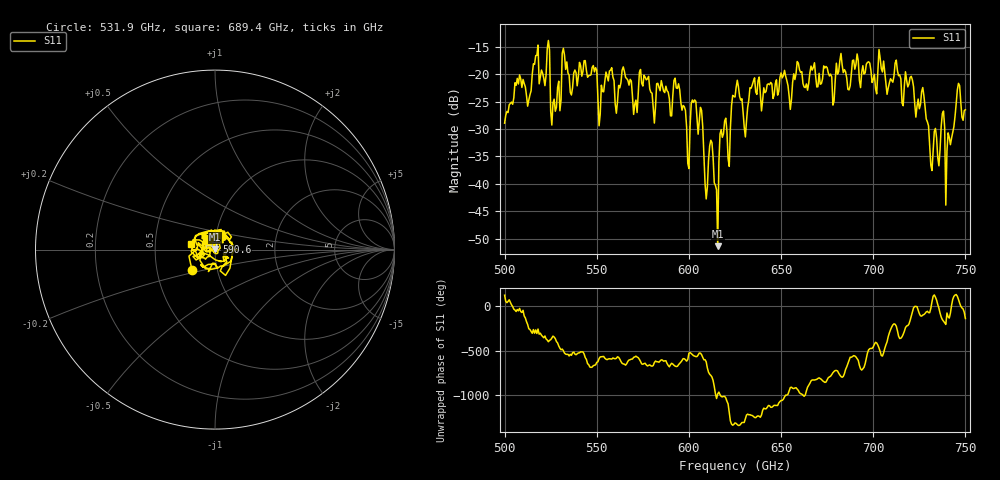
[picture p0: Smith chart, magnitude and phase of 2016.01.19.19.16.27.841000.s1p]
!Created with skrf (http://scikit-rf.org).
# GHz S RI R 50.0
!freq ReS11 ImS11
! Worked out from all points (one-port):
!   401 points, 500 GHz to 750 GHz, reference 50 ohm
!   lowest |S11| = -51.4 dB at 615.6 GHz (marker M1), VSWR 1.01, Z = 50 + j0.267 ohm
!   |S11| at or under -10 dB: start of sweep to end of sweep
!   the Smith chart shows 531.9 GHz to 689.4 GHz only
!   S11 on the Smith chart (normalised r, x): 531.9 GHz: 0.75, -0.18; 590.6 GHz: 1.01, +0.08; 689.4 GHz: 0.77, +0.05
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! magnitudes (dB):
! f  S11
! 500 GHz  -28.9
! 516.9 GHz  -16.6
! 523.1 GHz  -15.3
! 526.2 GHz  -25.2
! 531.2 GHz  -16.2
! 531.9 GHz  -15.3
! 562.5 GHz  -22.5
! 590.6 GHz  -27.6
! 593.8 GHz  -22.6
! 599.4 GHz  -36.3
! 602.5 GHz  -25.1
! 609.4 GHz  -42.8
! 611.9 GHz  -32.0
! 615.6 GHz  -51.4
! 618.1 GHz  -31.5
! 621.9 GHz  -36.8
! 625 GHz  -24.1
! 630.6 GHz  -31.4
! 634.4 GHz  -21.9
! 656.2 GHz  -21.5
! 687.5 GHz  -22.1
! 689.4 GHz  -17.4
! 718.8 GHz  -22.3
! 727.5 GHz  -24.0
! 731.9 GHz  -37.6
! 740.6 GHz  -30.7
! 746.2 GHz  -21.6
! 750 GHz  -26.5
